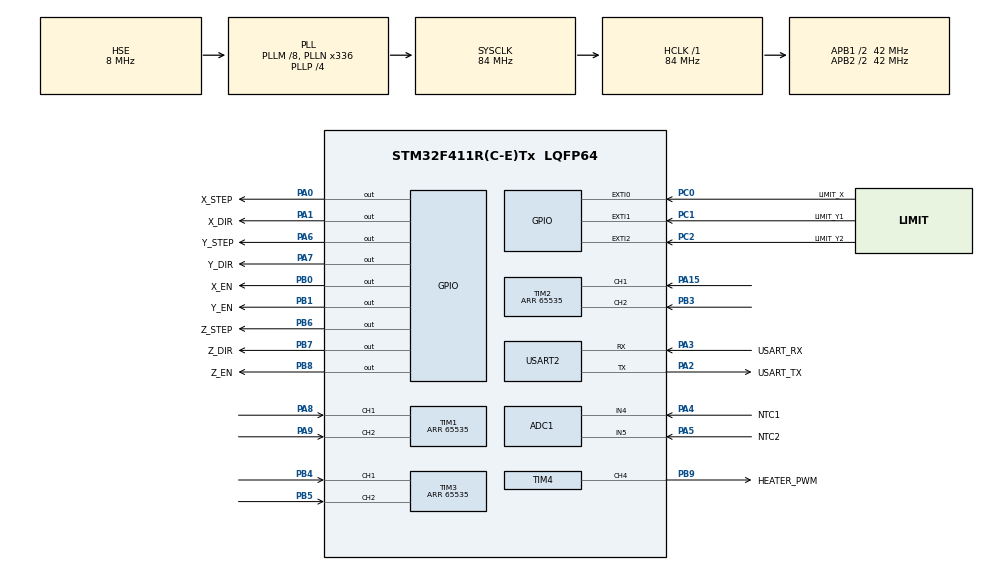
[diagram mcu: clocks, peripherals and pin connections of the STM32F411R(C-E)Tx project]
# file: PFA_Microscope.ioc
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ADC1.Channel-0\#ChannelRegularConversion=ADC_CHANNEL_4
ADC1.Channel-1\#ChannelRegularConversion=ADC_CHANNEL_5
ADC1.ClockPrescaler=ADC_CLOCK_SYNC_PCLK_DIV8
ADC1.ContinuousConvMode=ENABLE
ADC1.EnableAnalogWatchDog=true
ADC1.EnableRegularConversion=ENABLE
ADC1.HighThreshold=3500
ADC1.ITMode=ENABLE
ADC1.Channel=ADC_CHANNEL_4
ADC1.LowThreshold=0
ADC1.NbrOfConversion=2
ADC1.NbrOfConversionFlag=1
ADC1.Rank-0\#ChannelRegularConversion=1
ADC1.Rank-1\#ChannelRegularConversion=2
ADC1.SamplingTime-0\#ChannelRegularConversion=ADC_SAMPLETIME_480CYCLES
ADC1.SamplingTime-1\#ChannelRegularConversion=ADC_SAMPLETIME_480CYCLES
ADC1.ScanConvMode=ENABLE
ADC1.WatchdogMode=ADC_ANALOGWATCHDOG_SINGLE_REG
ADC1.master=1
Mcu.Family=STM32F4
Mcu.Name=STM32F411R(C-E)Tx
Mcu.Package=LQFP64
NVIC.ADC_IRQn=true\:2\:0\:true\:false\:true\:true\:true\:true
NVIC.EXTI0_IRQn=true\:1\:0\:true\:false\:true\:true\:true\:true
NVIC.EXTI1_IRQn=true\:1\:0\:true\:false\:true\:true\:true\:true
NVIC.EXTI2_IRQn=true\:1\:0\:true\:false\:true\:true\:true\:true
NVIC.PriorityGroup=NVIC_PRIORITYGROUP_4
NVIC.TIM5_IRQn=true\:1\:0\:true\:false\:true\:true\:true\:true
NVIC.USART2_IRQn=true\:3\:0\:true\:false\:true\:true\:true\:true
PA0-WKUP.GPIO_Label=X_STEP
PA0-WKUP.GPIO_Speed=GPIO_SPEED_FREQ_HIGH
PA0-WKUP.Signal=GPIO_Output
PA1.GPIO_Label=X_DIR
PA1.GPIO_Speed=GPIO_SPEED_FREQ_HIGH
PA1.Signal=GPIO_Output
PA13.Mode=Serial_Wire
PA13.Signal=SYS_JTMS-SWDIO
PA14.Mode=Serial_Wire
PA14.Signal=SYS_JTCK-SWCLK
PA15.Signal=S_TIM2_CH1_ETR
PA2.GPIO_Label=USART_TX
PA2.GPIO_Speed=GPIO_SPEED_FREQ_VERY_HIGH
PA2.Mode=Asynchronous
PA2.Signal=USART2_TX
PA3.GPIO_Label=USART_RX
PA3.GPIO_Speed=GPIO_SPEED_FREQ_VERY_HIGH
PA3.Mode=Asynchronous
PA3.Signal=USART2_RX
PA4.GPIO_Label=NTC1
PA4.Signal=ADCx_IN4
PA5.GPIO_Label=NTC2
PA5.Signal=ADCx_IN5
PA6.GPIO_Label=Y_STEP
PA6.GPIO_Speed=GPIO_SPEED_FREQ_HIGH
PA6.Signal=GPIO_Output
PA7.GPIO_Label=Y_DIR
PA7.GPIO_Speed=GPIO_SPEED_FREQ_HIGH
PA7.Signal=GPIO_Output
PA8.Signal=S_TIM1_CH1
PA9.Signal=S_TIM1_CH2
PB0.GPIO_Label=X_EN
PB0.GPIO_Speed=GPIO_SPEED_FREQ_HIGH
PB0.PinState=GPIO_PIN_SET
PB0.Signal=GPIO_Output
PB1.GPIO_Label=Y_EN
PB1.GPIO_Speed=GPIO_SPEED_FREQ_HIGH
PB1.PinState=GPIO_PIN_SET
PB1.Signal=GPIO_Output
PB3.Signal=S_TIM2_CH2
PB4.Signal=S_TIM3_CH1
PB5.Signal=S_TIM3_CH2
PB6.GPIO_Label=Z_STEP
PB6.GPIO_Speed=GPIO_SPEED_FREQ_HIGH
PB6.Signal=GPIO_Output
PB7.GPIO_Label=Z_DIR
PB7.GPIO_Speed=GPIO_SPEED_FREQ_HIGH
PB7.Signal=GPIO_Output
PB8.GPIO_Label=Z_EN
PB8.GPIO_Speed=GPIO_SPEED_FREQ_HIGH
PB8.PinState=GPIO_PIN_SET
PB8.Signal=GPIO_Output
PB9.GPIO_Label=HEATER_PWM
PB9.Signal=S_TIM4_CH4
PC0.GPIO_Label=LIMIT_X
PC0.GPIO_PuPd=GPIO_PULLUP
PC0.GPIO_ModeDefaultEXTI=GPIO_MODE_IT_RISING_FALLING
PC0.Signal=GPXTI0
PC1.GPIO_Label=LIMIT_Y1
PC1.GPIO_PuPd=GPIO_PULLUP
PC1.GPIO_ModeDefaultEXTI=GPIO_MODE_IT_RISING_FALLING
PC1.Signal=GPXTI1
PC2.GPIO_Label=LIMIT_Y2
PC2.GPIO_PuPd=GPIO_PULLUP
PC2.GPIO_ModeDefaultEXTI=GPIO_MODE_IT_RISING_FALLING
PC2.Signal=GPXTI2
PH0\ -\ OSC_IN.Mode=HSE-External-Clock-Source
PH0\ -\ OSC_IN.Signal=RCC_OSC_IN
ProjectManager.HeapSize=0x200
ProjectManager.StackSize=0x400
ProjectManager.TargetToolchain=STM32CubeIDE
RCC.AHBFreq_Value=84000000
RCC.APB1CLKDivider=RCC_HCLK_DIV2
RCC.APB1Freq_Value=42000000
RCC.APB1TimFreq_Value=84000000
RCC.APB2CLKDivider=RCC_HCLK_DIV2
RCC.APB2Freq_Value=42000000
RCC.APB2TimFreq_Value=84000000
RCC.CortexFreq_Value=84000000
RCC.HCLKFreq_Value=84000000
RCC.HSE_VALUE=8000000
RCC.HSI_VALUE=16000000
RCC.PLLM=8
RCC.PLLN=336
RCC.PLLP=RCC_PLLP_DIV4
RCC.PLLQ=7
RCC.PLLSourceVirtual=RCC_PLLSOURCE_HSE
RCC.SYSCLKFreq_VALUE=84000000
RCC.SYSCLKSource=RCC_SYSCLKSOURCE_PLLCLK
RCC.USBFreq_Value=48000000
RCC.VCOOutputFreq_Value=336000000
SH.ADCx_IN4.0=ADC1_IN4,IN4
SH.ADCx_IN5.0=ADC1_IN5,IN5
SH.S_TIM1_CH1.0=TIM1_CH1,Encoder_Interface
SH.S_TIM1_CH2.0=TIM1_CH2,Encoder_Interface
SH.S_TIM2_CH1_ETR.0=TIM2_CH1,Encoder_Interface
SH.S_TIM2_CH2.0=TIM2_CH2,Encoder_Interface
SH.S_TIM3_CH1.0=TIM3_CH1,Encoder_Interface
SH.S_TIM3_CH2.0=TIM3_CH2,Encoder_Interface
SH.S_TIM4_CH4.0=TIM4_CH4,PWM Generation4 CH4
TIM1.EncoderMode=TIM_ENCODERMODE_TI12
TIM1.IC1Polarity=TIM_ICPOLARITY_RISING
TIM1.IC2Polarity=TIM_ICPOLARITY_RISING
TIM1.Period=65535
TIM2.EncoderMode=TIM_ENCODERMODE_TI12
TIM2.IC1Polarity=TIM_ICPOLARITY_RISING
TIM2.IC2Polarity=TIM_ICPOLARITY_RISING
TIM2.Period=65535
TIM3.EncoderMode=TIM_ENCODERMODE_TI12
TIM3.IC1Polarity=TIM_ICPOLARITY_RISING
TIM3.IC2Polarity=TIM_ICPOLARITY_RISING
TIM3.Period=65535
TIM4.Channel-PWM\ Generation4\ CH4=TIM_CHANNEL_4
TIM4.Period=999
TIM4.Prescaler=83
TIM5.Period=24
TIM5.Prescaler=83
USART2.VirtualMode=VM_ASYNC
VP_TIM4_VS_ClockSourceINT.Mode=Internal
VP_TIM5_VS_ClockSourceINT.Mode=Internal
board=custom

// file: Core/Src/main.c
/* USER CODE BEGIN Header */
/**
  ******************************************************************************
  * @file           : main.c
  * @brief          : Automatisation d'un plateau de microscope (Clever C320)
  *                   PFA 2e annee Genie Mecatronique - ENICarthage 2025/2026
  *
  *  Carte   : NUCLEO-F411RE (STM32F411RETx, LQFP64), SYSCLK = 84 MHz
  *  Axes    : X (NEMA 8), Y (NEMA 8), Z (NEMA 14) - drivers TMC2209 STEP/DIR/EN
  *            X : STEP PA0  DIR PA1  EN PB0  - encodeur TIM2 (PA15 CH1, PB3 CH2)
  *            Y : STEP PA6  DIR PA7  EN PB1  - encodeur TIM1 (PA8 CH1,  PA9 CH2)
  *            Z : STEP PB6  DIR PB7  EN PB8  - encodeur TIM3 (PB4 CH1,  PB5 CH2)
  *  Fins de course US5881 : PC0 (X), PC1 (Y cote 1), PC2 (Y cote 2) - EXTI
  *  Thermique : NTC TK95F103V sur PA4 (ADC1_IN4) et PA5 (ADC1_IN5)
  *              PWM verre ITO sur PB9 (TIM4_CH4, 1 kHz) - PID 37 degC
  *  PC        : USART2 PA2/PA3, 115200 8N1 (port COM virtuel ST-LINK)
  *  Pas       : base de temps TIM5 a 40 kHz
  ******************************************************************************
  */
/* USER CODE END Header */
#include "main.h"

/* USER CODE BEGIN Includes */
#include "app_config.h"
#include "motion.h"
#include "thermal.h"
#include "comm.h"
/* USER CODE END Includes */

ADC_HandleTypeDef hadc1;

TIM_HandleTypeDef htim1;
TIM_HandleTypeDef htim2;
TIM_HandleTypeDef htim3;
TIM_HandleTypeDef htim4;
TIM_HandleTypeDef htim5;

UART_HandleTypeDef huart2;

void SystemClock_Config(void);
static void MX_GPIO_Init(void);
static void MX_ADC1_Init(void);
static void MX_TIM1_Init(void);
static void MX_TIM2_Init(void);
static void MX_TIM3_Init(void);
static void MX_TIM4_Init(void);
static void MX_TIM5_Init(void);
static void MX_USART2_UART_Init(void);

int main(void)
{
  /* MCU Configuration--------------------------------------------------------*/

  /* Reset of all peripherals, Initializes the Flash interface and the Systick. */
  HAL_Init();

  /* Configure the system clock */
  SystemClock_Config();

  /* Initialize all configured peripherals */
  MX_GPIO_Init();
  MX_ADC1_Init();
  MX_TIM1_Init();
  MX_TIM2_Init();
  MX_TIM3_Init();
  MX_TIM4_Init();
  MX_TIM5_Init();
  MX_USART2_UART_Init();
  /* USER CODE BEGIN 2 */
  Comm_Init();
  Thermal_Init();
  Motion_Init();
  /* USER CODE END 2 */

  /* Infinite loop */
  while (1)
  {

    /* USER CODE BEGIN 3 */
    Comm_Process();      /* commandes PC + trame de statut         */
    Motion_Process();    /* fins de mouvement, homing, boucle fermee */
    Thermal_Process();   /* acquisition NTC + PID + securites      */
  }
  /* USER CODE END 3 */
}

void SystemClock_Config(void)
{
  RCC_OscInitTypeDef RCC_OscInitStruct = {0};
  RCC_ClkInitTypeDef RCC_ClkInitStruct = {0};

  /** Configure the main internal regulator output voltage
  */
  __HAL_RCC_PWR_CLK_ENABLE();
  __HAL_PWR_VOLTAGESCALING_CONFIG(PWR_REGULATOR_VOLTAGE_SCALE2);

  /** Initializes the RCC Oscillators according to the specified parameters
  * in the RCC_OscInitTypeDef structure.
  */
  RCC_OscInitStruct.OscillatorType = RCC_OSCILLATORTYPE_HSE;
  RCC_OscInitStruct.HSEState = RCC_HSE_BYPASS;
  RCC_OscInitStruct.PLL.PLLState = RCC_PLL_ON;
  RCC_OscInitStruct.PLL.PLLSource = RCC_PLLSOURCE_HSE;
  RCC_OscInitStruct.PLL.PLLM = 8;
  RCC_OscInitStruct.PLL.PLLN = 336;
  RCC_OscInitStruct.PLL.PLLP = RCC_PLLP_DIV4;
  RCC_OscInitStruct.PLL.PLLQ = 7;
  if (HAL_RCC_OscConfig(&RCC_OscInitStruct) != HAL_OK)
  {
    Error_Handler();
  }

  /** Initializes the CPU, AHB and APB buses clocks
  */
  RCC_ClkInitStruct.ClockType = RCC_CLOCKTYPE_HCLK|RCC_CLOCKTYPE_SYSCLK
                              |RCC_CLOCKTYPE_PCLK1|RCC_CLOCKTYPE_PCLK2;
  RCC_ClkInitStruct.SYSCLKSource = RCC_SYSCLKSOURCE_PLLCLK;
  RCC_ClkInitStruct.AHBCLKDivider = RCC_SYSCLK_DIV1;
  RCC_ClkInitStruct.APB1CLKDivider = RCC_HCLK_DIV2;
  RCC_ClkInitStruct.APB2CLKDivider = RCC_HCLK_DIV2;

  if (HAL_RCC_ClockConfig(&RCC_ClkInitStruct, FLASH_LATENCY_2) != HAL_OK)
  {
    Error_Handler();
  }
}

static void MX_ADC1_Init(void)
{
  ADC_AnalogWDGConfTypeDef AnalogWDGConfig = {0};
  ADC_ChannelConfTypeDef sConfig = {0};

  /** Configure the global features of the ADC (Clock, Resolution, Data Alignment and number of conversion)
  */
  hadc1.Instance = ADC1;
  hadc1.Init.ClockPrescaler = ADC_CLOCK_SYNC_PCLK_DIV8;
  hadc1.Init.Resolution = ADC_RESOLUTION_12B;
  hadc1.Init.ScanConvMode = ENABLE;
  hadc1.Init.ContinuousConvMode = ENABLE;
  hadc1.Init.DiscontinuousConvMode = DISABLE;
  hadc1.Init.ExternalTrigConvEdge = ADC_EXTERNALTRIGCONVEDGE_NONE;
  hadc1.Init.ExternalTrigConv = ADC_SOFTWARE_START;
  hadc1.Init.DataAlign = ADC_DATAALIGN_RIGHT;
  hadc1.Init.NbrOfConversion = 2;
  hadc1.Init.DMAContinuousRequests = DISABLE;
  hadc1.Init.EOCSelection = ADC_EOC_SINGLE_CONV;
  if (HAL_ADC_Init(&hadc1) != HAL_OK)
  {
    Error_Handler();
  }

  /** Configure the analog watchdog
  */
  AnalogWDGConfig.WatchdogMode = ADC_ANALOGWATCHDOG_SINGLE_REG;
  AnalogWDGConfig.HighThreshold = 3500;
  AnalogWDGConfig.LowThreshold = 0;
  AnalogWDGConfig.Channel = ADC_CHANNEL_4;
  AnalogWDGConfig.ITMode = ENABLE;
  if (HAL_ADC_AnalogWDGConfig(&hadc1, &AnalogWDGConfig) != HAL_OK)
  {
    Error_Handler();
  }

  /** Configure for the selected ADC regular channel its corresponding rank in the sequencer and its sample time.
  */
  sConfig.Channel = ADC_CHANNEL_4;
  sConfig.Rank = 1;
  sConfig.SamplingTime = ADC_SAMPLETIME_480CYCLES;
  if (HAL_ADC_ConfigChannel(&hadc1, &sConfig) != HAL_OK)
  {
    Error_Handler();
  }

  /** Configure for the selected ADC regular channel its corresponding rank in the sequencer and its sample time.
  */
  sConfig.Channel = ADC_CHANNEL_5;
  sConfig.Rank = 2;
  if (HAL_ADC_ConfigChannel(&hadc1, &sConfig) != HAL_OK)
  {
    Error_Handler();
  }
}

static void MX_TIM1_Init(void)
{
  TIM_Encoder_InitTypeDef sConfig = {0};
  TIM_MasterConfigTypeDef sMasterConfig = {0};

  htim1.Instance = TIM1;
  htim1.Init.Prescaler = 0;
  htim1.Init.CounterMode = TIM_COUNTERMODE_UP;
  htim1.Init.Period = 65535;
  htim1.Init.ClockDivision = TIM_CLOCKDIVISION_DIV1;
  htim1.Init.RepetitionCounter = 0;
  htim1.Init.AutoReloadPreload = TIM_AUTORELOAD_PRELOAD_DISABLE;
  sConfig.EncoderMode = TIM_ENCODERMODE_TI12;
  sConfig.IC1Polarity = TIM_ICPOLARITY_RISING;
  sConfig.IC1Selection = TIM_ICSELECTION_DIRECTTI;
  sConfig.IC1Prescaler = TIM_ICPSC_DIV1;
  sConfig.IC1Filter = 0;
  sConfig.IC2Polarity = TIM_ICPOLARITY_RISING;
  sConfig.IC2Selection = TIM_ICSELECTION_DIRECTTI;
  sConfig.IC2Prescaler = TIM_ICPSC_DIV1;
  sConfig.IC2Filter = 0;
  if (HAL_TIM_Encoder_Init(&htim1, &sConfig) != HAL_OK)
  {
    Error_Handler();
  }
  sMasterConfig.MasterOutputTrigger = TIM_TRGO_RESET;
  sMasterConfig.MasterSlaveMode = TIM_MASTERSLAVEMODE_DISABLE;
  if (HAL_TIMEx_MasterConfigSynchronization(&htim1, &sMasterConfig) != HAL_OK)
  {
    Error_Handler();
  }
}

static void MX_TIM2_Init(void)
{
  TIM_Encoder_InitTypeDef sConfig = {0};
  TIM_MasterConfigTypeDef sMasterConfig = {0};

  htim2.Instance = TIM2;
  htim2.Init.Prescaler = 0;
  htim2.Init.CounterMode = TIM_COUNTERMODE_UP;
  htim2.Init.Period = 65535;
  htim2.Init.ClockDivision = TIM_CLOCKDIVISION_DIV1;
  htim2.Init.AutoReloadPreload = TIM_AUTORELOAD_PRELOAD_DISABLE;
  sConfig.EncoderMode = TIM_ENCODERMODE_TI12;
  sConfig.IC1Polarity = TIM_ICPOLARITY_RISING;
  sConfig.IC1Selection = TIM_ICSELECTION_DIRECTTI;
  sConfig.IC1Prescaler = TIM_ICPSC_DIV1;
  sConfig.IC1Filter = 0;
  sConfig.IC2Polarity = TIM_ICPOLARITY_RISING;
  sConfig.IC2Selection = TIM_ICSELECTION_DIRECTTI;
  sConfig.IC2Prescaler = TIM_ICPSC_DIV1;
  sConfig.IC2Filter = 0;
  if (HAL_TIM_Encoder_Init(&htim2, &sConfig) != HAL_OK)
  {
    Error_Handler();
  }
  sMasterConfig.MasterOutputTrigger = TIM_TRGO_RESET;
  sMasterConfig.MasterSlaveMode = TIM_MASTERSLAVEMODE_DISABLE;
  if (HAL_TIMEx_MasterConfigSynchronization(&htim2, &sMasterConfig) != HAL_OK)
  {
    Error_Handler();
  }
}

static void MX_TIM3_Init(void)
{
  TIM_Encoder_InitTypeDef sConfig = {0};
  TIM_MasterConfigTypeDef sMasterConfig = {0};

  htim3.Instance = TIM3;
  htim3.Init.Prescaler = 0;
  htim3.Init.CounterMode = TIM_COUNTERMODE_UP;
  htim3.Init.Period = 65535;
  htim3.Init.ClockDivision = TIM_CLOCKDIVISION_DIV1;
  htim3.Init.AutoReloadPreload = TIM_AUTORELOAD_PRELOAD_DISABLE;
  sConfig.EncoderMode = TIM_ENCODERMODE_TI12;
  sConfig.IC1Polarity = TIM_ICPOLARITY_RISING;
  sConfig.IC1Selection = TIM_ICSELECTION_DIRECTTI;
  sConfig.IC1Prescaler = TIM_ICPSC_DIV1;
  sConfig.IC1Filter = 0;
  sConfig.IC2Polarity = TIM_ICPOLARITY_RISING;
  sConfig.IC2Selection = TIM_ICSELECTION_DIRECTTI;
  sConfig.IC2Prescaler = TIM_ICPSC_DIV1;
  sConfig.IC2Filter = 0;
  if (HAL_TIM_Encoder_Init(&htim3, &sConfig) != HAL_OK)
  {
    Error_Handler();
  }
  sMasterConfig.MasterOutputTrigger = TIM_TRGO_RESET;
  sMasterConfig.MasterSlaveMode = TIM_MASTERSLAVEMODE_DISABLE;
  if (HAL_TIMEx_MasterConfigSynchronization(&htim3, &sMasterConfig) != HAL_OK)
  {
    Error_Handler();
  }
}

static void MX_TIM4_Init(void)
{
  TIM_ClockConfigTypeDef sClockSourceConfig = {0};
  TIM_MasterConfigTypeDef sMasterConfig = {0};
  TIM_OC_InitTypeDef sConfigOC = {0};

  htim4.Instance = TIM4;
  htim4.Init.Prescaler = 83;
  htim4.Init.CounterMode = TIM_COUNTERMODE_UP;
  htim4.Init.Period = 999;
  htim4.Init.ClockDivision = TIM_CLOCKDIVISION_DIV1;
  htim4.Init.AutoReloadPreload = TIM_AUTORELOAD_PRELOAD_DISABLE;
  if (HAL_TIM_Base_Init(&htim4) != HAL_OK)
  {
    Error_Handler();
  }
  sClockSourceConfig.ClockSource = TIM_CLOCKSOURCE_INTERNAL;
  if (HAL_TIM_ConfigClockSource(&htim4, &sClockSourceConfig) != HAL_OK)
  {
    Error_Handler();
  }
  if (HAL_TIM_PWM_Init(&htim4) != HAL_OK)
  {
    Error_Handler();
  }
  sMasterConfig.MasterOutputTrigger = TIM_TRGO_RESET;
  sMasterConfig.MasterSlaveMode = TIM_MASTERSLAVEMODE_DISABLE;
  if (HAL_TIMEx_MasterConfigSynchronization(&htim4, &sMasterConfig) != HAL_OK)
  {
    Error_Handler();
  }
  sConfigOC.OCMode = TIM_OCMODE_PWM1;
  sConfigOC.Pulse = 0;
  sConfigOC.OCPolarity = TIM_OCPOLARITY_HIGH;
  sConfigOC.OCFastMode = TIM_OCFAST_DISABLE;
  if (HAL_TIM_PWM_ConfigChannel(&htim4, &sConfigOC, TIM_CHANNEL_4) != HAL_OK)
  {
    Error_Handler();
  }
  HAL_TIM_MspPostInit(&htim4);
}

static void MX_TIM5_Init(void)
{
  TIM_ClockConfigTypeDef sClockSourceConfig = {0};
  TIM_MasterConfigTypeDef sMasterConfig = {0};

  htim5.Instance = TIM5;
  htim5.Init.Prescaler = 83;
  htim5.Init.CounterMode = TIM_COUNTERMODE_UP;
  htim5.Init.Period = 24;
  htim5.Init.ClockDivision = TIM_CLOCKDIVISION_DIV1;
  htim5.Init.AutoReloadPreload = TIM_AUTORELOAD_PRELOAD_DISABLE;
  if (HAL_TIM_Base_Init(&htim5) != HAL_OK)
  {
    Error_Handler();
  }
  sClockSourceConfig.ClockSource = TIM_CLOCKSOURCE_INTERNAL;
  if (HAL_TIM_ConfigClockSource(&htim5, &sClockSourceConfig) != HAL_OK)
  {
    Error_Handler();
  }
  sMasterConfig.MasterOutputTrigger = TIM_TRGO_RESET;
  sMasterConfig.MasterSlaveMode = TIM_MASTERSLAVEMODE_DISABLE;
  if (HAL_TIMEx_MasterConfigSynchronization(&htim5, &sMasterConfig) != HAL_OK)
  {
    Error_Handler();
  }
}

static void MX_USART2_UART_Init(void)
{
  huart2.Instance = USART2;
  huart2.Init.BaudRate = 115200;
  huart2.Init.WordLength = UART_WORDLENGTH_8B;
  huart2.Init.StopBits = UART_STOPBITS_1;
  huart2.Init.Parity = UART_PARITY_NONE;
  huart2.Init.Mode = UART_MODE_TX_RX;
  huart2.Init.HwFlowCtl = UART_HWCONTROL_NONE;
  huart2.Init.OverSampling = UART_OVERSAMPLING_16;
  if (HAL_UART_Init(&huart2) != HAL_OK)
  {
    Error_Handler();
  }
}

static void MX_GPIO_Init(void)
{
  GPIO_InitTypeDef GPIO_InitStruct = {0};

  /* GPIO Ports Clock Enable */
  __HAL_RCC_GPIOC_CLK_ENABLE();
  __HAL_RCC_GPIOH_CLK_ENABLE();
  __HAL_RCC_GPIOA_CLK_ENABLE();
  __HAL_RCC_GPIOB_CLK_ENABLE();

  /*Configure GPIO pin Output Level */
  HAL_GPIO_WritePin(GPIOA, X_STEP_Pin|X_DIR_Pin|Y_STEP_Pin|Y_DIR_Pin, GPIO_PIN_RESET);

  /*Configure GPIO pin Output Level */
  HAL_GPIO_WritePin(GPIOB, Z_STEP_Pin|Z_DIR_Pin, GPIO_PIN_RESET);

  /*Configure GPIO pin Output Level : drivers desactives au demarrage (EN = 1) */
  HAL_GPIO_WritePin(GPIOB, X_EN_Pin|Y_EN_Pin|Z_EN_Pin, GPIO_PIN_SET);

  /*Configure GPIO pins : LIMIT_X_Pin LIMIT_Y1_Pin LIMIT_Y2_Pin */
  GPIO_InitStruct.Pin = LIMIT_X_Pin|LIMIT_Y1_Pin|LIMIT_Y2_Pin;
  GPIO_InitStruct.Mode = GPIO_MODE_IT_RISING_FALLING;
  GPIO_InitStruct.Pull = GPIO_PULLUP;
  HAL_GPIO_Init(GPIOC, &GPIO_InitStruct);

  /*Configure GPIO pins : X_STEP_Pin X_DIR_Pin Y_STEP_Pin Y_DIR_Pin */
  GPIO_InitStruct.Pin = X_STEP_Pin|X_DIR_Pin|Y_STEP_Pin|Y_DIR_Pin;
  GPIO_InitStruct.Mode = GPIO_MODE_OUTPUT_PP;
  GPIO_InitStruct.Pull = GPIO_NOPULL;
  GPIO_InitStruct.Speed = GPIO_SPEED_FREQ_HIGH;
  HAL_GPIO_Init(GPIOA, &GPIO_InitStruct);

  /*Configure GPIO pins : X_EN_Pin Y_EN_Pin Z_STEP_Pin Z_DIR_Pin Z_EN_Pin */
  GPIO_InitStruct.Pin = X_EN_Pin|Y_EN_Pin|Z_STEP_Pin|Z_DIR_Pin|Z_EN_Pin;
  GPIO_InitStruct.Mode = GPIO_MODE_OUTPUT_PP;
  GPIO_InitStruct.Pull = GPIO_NOPULL;
  GPIO_InitStruct.Speed = GPIO_SPEED_FREQ_HIGH;
  HAL_GPIO_Init(GPIOB, &GPIO_InitStruct);

  /* EXTI interrupt init*/
  HAL_NVIC_SetPriority(EXTI0_IRQn, 1, 0);
  HAL_NVIC_EnableIRQ(EXTI0_IRQn);

  HAL_NVIC_SetPriority(EXTI1_IRQn, 1, 0);
  HAL_NVIC_EnableIRQ(EXTI1_IRQn);

  HAL_NVIC_SetPriority(EXTI2_IRQn, 1, 0);
  HAL_NVIC_EnableIRQ(EXTI2_IRQn);
}

/* USER CODE BEGIN 4 */

/* ---- Callbacks HAL -> modules applicatifs ---- */

void HAL_TIM_PeriodElapsedCallback(TIM_HandleTypeDef *htim)
{
  if (htim->Instance == TIM5)
  {
    Motion_TickISR();
  }
}

void HAL_GPIO_EXTI_Callback(uint16_t GPIO_Pin)
{
  Motion_LimitISR(GPIO_Pin);
}

void HAL_ADC_ConvCpltCallback(ADC_HandleTypeDef *hadc)
{
  if (hadc->Instance == ADC1)
  {
    Thermal_AdcConvCpltISR();
  }
}

void HAL_ADC_LevelOutOfWindowCallback(ADC_HandleTypeDef *hadc)
{
  if (hadc->Instance == ADC1)
  {
    Thermal_AdcWatchdogISR();
  }
}

void HAL_ADC_ErrorCallback(ADC_HandleTypeDef *hadc)
{
  if (hadc->Instance == ADC1)
  {
    Thermal_AdcErrorISR();
  }
}

void HAL_UART_RxCpltCallback(UART_HandleTypeDef *huart)
{
  if (huart->Instance == USART2)
  {
    Comm_RxByteISR();
  }
}

void HAL_UART_ErrorCallback(UART_HandleTypeDef *huart)
{
  if (huart->Instance == USART2)
  {
    Comm_RxErrorISR();
  }
}

/* USER CODE END 4 */

void Error_Handler(void)
{
  /* USER CODE BEGIN Error_Handler_Debug */
  /* Securite : chauffage coupe et drivers desactives */
  __disable_irq();
  TIM4->CCR4 = 0;
  HAL_GPIO_WritePin(GPIOB, X_EN_Pin|Y_EN_Pin|Z_EN_Pin, GPIO_PIN_SET);
  while (1)
  {
  }
  /* USER CODE END Error_Handler_Debug */
}

#ifdef  USE_FULL_ASSERT
/**
  * @brief  Reports the name of the source file and the source line number
  *         where the assert_param error has occurred.
  * @param  file: pointer to the source file name
  * @param  line: assert_param error line source number
  * @retval None
  */
void assert_failed(uint8_t *file, uint32_t line)
{
  /* USER CODE BEGIN 6 */
  (void)file;
  (void)line;
  /* USER CODE END 6 */
}
#endif /* USE_FULL_ASSERT */
